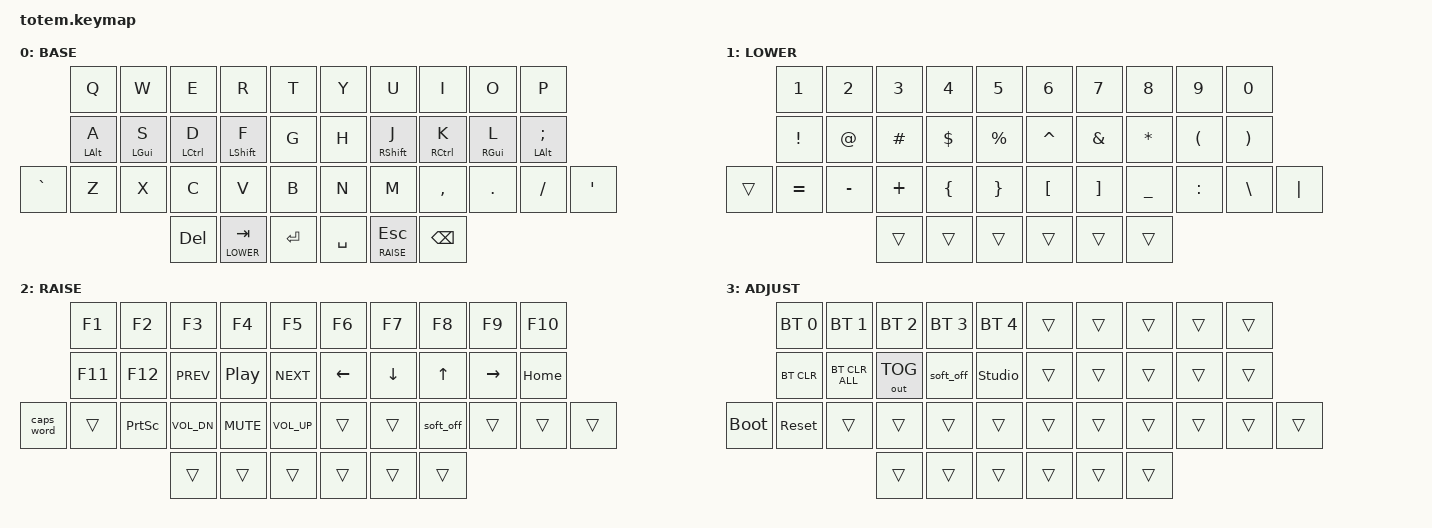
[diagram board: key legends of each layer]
//
//                                                        ▀▀▀▀▀     ▀▀▀▀▀          ▀▀█▀▀
//                                                        ▄▀▀▀▄  ▄  ▄▀▀▀▄  ▄  ▄▀▀▀▄  █  ▄▀▀▀▄
//                                                        █   █  █  █   █  █  █   █  █  █   █
//                                                         ▀▀▀   █   ▀▀▀   █   ▀▀▀   ▀   ▀▀▀
//                                                               █      ▄▄▄█▄▄▄    █   █  
//                                                               ▀      █  █  █     █▄█
//                                                             ▀▀▀▀▀    █  █  █      ▀
//                                                                      ▀  ▀  ▀
//
// ▄▄▄▄▄▄▄▄▄▄▄▄▄▄▄▄▄▄▄▄▄▄▄▄▄▄▄▄▄▄▄▄▄▄▄▄▄▄▄▄▄▄▄▄▄▄▄▄▄▄▄▄▄▄▄▄▄▄▄▄▄▄▄▄▄▄▄▄▄▄▄▄▄▄▄▄▄▄▄▄▄▄▄▄▄▄▄▄▄▄▄▄▄▄▄▄▄▄▄▄▄▄▄▄▄▄▄▄▄▄▄▄▄▄▄▄▄▄▄▄▄▄▄▄▄▄▄▄▄▄▄▄▄▄▄▄▄▄▄▄▄▄▄▄▄▄▄▄▄

#include <behaviors.dtsi>
#include <dt-bindings/zmk/bt.h>
#include <dt-bindings/zmk/keys.h>
#include <dt-bindings/zmk/outputs.h>

#define BASE 0
#define LOWER 1
#define RAISE 2
#define ADJUST 3

&mt {
    tapping-term-ms = <160>;
    quick-tap-ms = <200>;
    flavor = "tap-preferred";
};

&lt {
    tapping-term-ms = <150>;
    flavor = "tap-preferred";
};

/ {
    behaviors {
        hm: homerow_mods {
            compatible = "zmk,behavior-hold-tap";
            label = "HOMEROW_MODS";
            #binding-cells = <2>;
            flavor = "tap-preferred";
            tapping-term-ms = <170>;
            quick-tap-ms = <200>;
            bindings = <&kp>, <&kp>;
        };

        sht_hm: short_homerow_mods {
            compatible = "zmk,behavior-hold-tap";
            label = "HOMEROW_MODS";
            #binding-cells = <2>;
            // imitates HOLD_ON_OTHER_KEY_PRESS
            flavor = "hold-preferred";
            tapping-term-ms = <135>;
            quick-tap-ms = <140>;
            bindings = <&kp>, <&kp>;
        };
    };

    combos {
        compatible = "zmk,combos";
    };

    conditional_layers {
        compatible = "zmk,conditional-layers";
        tri_layer {
            if-layers = <1 2>;
            then-layer = <3>;
        };
    }; 

    macros {
    };

    keymap {
        compatible = "zmk,keymap";

        // ▄▄▄▄▄▄▄▄▄▄▄▄▄▄▄▄▄▄▄▄▄▄▄▄▄▄▄▄▄▄▄▄▄▄▄▄▄▄▄▄▄▄▄▄▄▄▄▄▄▄▄▄▄▄▄▄▄▄▄▄▄▄▄▄▄▄▄▄▄▄▄▄▄▄▄▄▄▄▄▄▄▄▄▄▄▄▄▄▄▄▄▄▄▄▄▄▄▄▄▄▄▄▄▄▄▄▄▄▄▄▄▄▄▄▄▄▄▄▄▄▄▄▄▄▄▄▄▄▄▄▄▄▄▄▄▄▄▄▄▄▄▄▄▄▄▄▄▄▄▄

        base_layer {
            // ┏━━━━━━━━━━━━━━━━━━━━━━━━━━━━━━━━━━━━━━━┓

            label = "BASE";

            // ┗━━━━━━━━━━━━━━━━━━━━━━━━━━━━━━━━━━━━━━━┛
            //             ┏━━━━━━━━━━━┳━━━━━━━━━━━┳━━━━━━━━━━━┳━━━━━━━━━━━┳━━━━━━━━━━━┓   ┏━━━━━━━━━━━┳━━━━━━━━━━━┳━━━━━━━━━━━┳━━━━━━━━━━━┳━━━━━━━━━━━┓
            //             ┃     Q     ┃     W     ┃     E     ┃     R     ┃     T     ┃   ┃     Y     ┃     U     ┃     I     ┃     O     ┃     P     ┃
            //             ┣━━━━━━━━━━━╋━━━━━━━━━━━╋━━━━━━━━━━━╋━━━━━━━━━━━╋━━━━━━━━━━━┫   ┣━━━━━━━━━━━╋━━━━━━━━━━━╋━━━━━━━━━━━╋━━━━━━━━━━━╋━━━━━━━━━━━┫
            //             ┃     A     ┃     S     ┃     D     ┃     F     ┃     G     ┃   ┃     H     ┃     J     ┃     K     ┃     L     ┃     ;     ┃
            // ┏━━━━━━━━━━━╋━━━━━━━━━━━╋━━━━━━━━━━━╋━━━━━━━━━━━╋━━━━━━━━━━━╋━━━━━━━━━━━┫   ┣━━━━━━━━━━━╋━━━━━━━━━━━╋━━━━━━━━━━━╋━━━━━━━━━━━╋━━━━━━━━━━━╋━━━━━━━━━━━┓
            // ┃     `     ┃     Z     ┃     X     ┃     C     ┃     V     ┃     B     ┃   ┃     N     ┃     M     ┃     ,     ┃     .     ┃     /     ┃     '     ┃
            // ┗━━━━━━━━━━━┻━━━━━━━━━━━┻━━━━━━━━━━━╋━━━━━━━━━━━╋━━━━━━━━━━━╋━━━━━━━━━━━┫   ┣━━━━━━━━━━━╋━━━━━━━━━━━╋━━━━━━━━━━━╋━━━━━━━━━━━┻━━━━━━━━━━━┻━━━━━━━━━━━┛
            //                                     ┃    DEL    ┃    TAB    ┃   ENTER   ┃   ┃    SPC    ┃    ESC    ┃   BSPC    ┃
            //                                     ┗━━━━━━━━━━━┻━━━━━━━━━━━┻━━━━━━━━━━━┛   ┗━━━━━━━━━━━┻━━━━━━━━━━━┻━━━━━━━━━━━┛

            bindings = <
       &kp Q       &kp W       &kp E        &kp R        &kp T        &kp Y    &kp U        &kp I        &kp O       &kp P
       &hm LALT A  &hm LGUI S  &hm LCTRL D  &sht_hm LSHFT F  &kp G        &kp H    &sht_hm RSHFT J  &hm RCTRL K  &hm RGUI L  &hm LALT SEMI
&kp GRAVE  &kp Z       &kp X       &kp C        &kp V        &kp B        &kp N    &kp M        &kp COMMA    &kp DOT     &kp FSLH       &kp SINGLE_QUOTE
                               &kp DEL      &lt LOWER TAB  &kp RET    &kp SPACE  &lt RAISE ESC  &kp BSPC
            >;
        };

        // ▄▄▄▄▄▄▄▄▄▄▄▄▄▄▄▄▄▄▄▄▄▄▄▄▄▄▄▄▄▄▄▄▄▄▄▄▄▄▄▄▄▄▄▄▄▄▄▄▄▄▄▄▄▄▄▄▄▄▄▄▄▄▄▄▄▄▄▄▄▄▄▄▄▄▄▄▄▄▄▄▄▄▄▄▄▄▄▄▄▄▄▄▄▄▄▄▄▄▄▄▄▄▄▄▄▄▄▄▄▄▄▄▄▄▄▄▄▄▄▄▄▄▄▄▄▄▄▄▄▄▄▄▄▄▄▄▄▄▄▄▄▄▄▄▄▄▄▄▄

        lower_layer {
            // ┏━━━━━━━━━━━━━━━━━━━━━━━━━━━━━━━━━━━━━━━┓

            label = "LOWER";

            // ┗━━━━━━━━━━━━━━━━━━━━━━━━━━━━━━━━━━━━━━━┛
            //             ┏━━━━━━━━━━━┳━━━━━━━━━━━┳━━━━━━━━━━━┳━━━━━━━━━━━┳━━━━━━━━━━━┓   ┏━━━━━━━━━━━┳━━━━━━━━━━━┳━━━━━━━━━━━┳━━━━━━━━━━━┳━━━━━━━━━━━┓
            //             ┃     1     ┃     2     ┃     3     ┃     4     ┃     5     ┃   ┃     6     ┃     7     ┃     8     ┃     9     ┃     0     ┃
            //             ┣━━━━━━━━━━━╋━━━━━━━━━━━╋━━━━━━━━━━━╋━━━━━━━━━━━╋━━━━━━━━━━━┫   ┣━━━━━━━━━━━╋━━━━━━━━━━━╋━━━━━━━━━━━╋━━━━━━━━━━━╋━━━━━━━━━━━┫
            //             ┃     !     ┃     @     ┃     #     ┃     $     ┃     %     ┃   ┃     ^     ┃     &     ┃     *     ┃     (     ┃     )     ┃
            // ┏━━━━━━━━━━━╋━━━━━━━━━━━╋━━━━━━━━━━━╋━━━━━━━━━━━╋━━━━━━━━━━━╋━━━━━━━━━━━┫   ┣━━━━━━━━━━━╋━━━━━━━━━━━╋━━━━━━━━━━━╋━━━━━━━━━━━╋━━━━━━━━━━━╋━━━━━━━━━━━┓
            // ┃     `     ┃     =     ┃     -     ┃     +     ┃     {     ┃     }     ┃   ┃     [     ┃     ]     ┃     _     ┃     :     ┃     \     ┃     |     ┃
            // ┗━━━━━━━━━━━┻━━━━━━━━━━━┻━━━━━━━━━━━╋━━━━━━━━━━━╋━━━━━━━━━━━╋━━━━━━━━━━━┫   ┣━━━━━━━━━━━╋━━━━━━━━━━━╋━━━━━━━━━━━╋━━━━━━━━━━━┻━━━━━━━━━━━┻━━━━━━━━━━━┛
            //                                     ┃           ┃    TAB    ┃   ENTER   ┃   ┃    SPC    ┃   ADJUST  ┃           ┃
            //                                     ┗━━━━━━━━━━━┻━━━━━━━━━━━┻━━━━━━━━━━━┛   ┗━━━━━━━━━━━┻━━━━━━━━━━━┻━━━━━━━━━━━┛

            bindings = <
        &kp N1     &kp N2      &kp N3    &kp N4     &kp N5      &kp N6    &kp N7     &kp N8     &kp N9     &kp N0
        &kp EXCL   &kp AT      &kp HASH  &kp DLLR   &kp PRCNT   &kp CARET &kp AMPS   &kp STAR   &kp LPAR   &kp RPAR
&trans  &kp EQUAL   &kp MINUS   &kp PLUS  &kp LBRC  &kp RBRC    &kp LBKT  &kp RBKT   &kp UNDER  &kp COLON  &kp BSLH        &kp PIPE
                               &trans    &trans     &trans      &trans    &trans     &trans
            >;
        };

        // ▄▄▄▄▄▄▄▄▄▄▄▄▄▄▄▄▄▄▄▄▄▄▄▄▄▄▄▄▄▄▄▄▄▄▄▄▄▄▄▄▄▄▄▄▄▄▄▄▄▄▄▄▄▄▄▄▄▄▄▄▄▄▄▄▄▄▄▄▄▄▄▄▄▄▄▄▄▄▄▄▄▄▄▄▄▄▄▄▄▄▄▄▄▄▄▄▄▄▄▄▄▄▄▄▄▄▄▄▄▄▄▄▄▄▄▄▄▄▄▄▄▄▄▄▄▄▄▄▄▄▄▄▄▄▄▄▄▄▄▄▄▄▄▄▄▄▄▄▄

        raise_layer {
            // ┏━━━━━━━━━━━━━━━━━━━━━━━━━━━━━━━━━━━━━━━┓

            label = "RAISE";

            // ┗━━━━━━━━━━━━━━━━━━━━━━━━━━━━━━━━━━━━━━━┛
            //             ┏━━━━━━━━━━━┳━━━━━━━━━━━┳━━━━━━━━━━━┳━━━━━━━━━━━┳━━━━━━━━━━━┓   ┏━━━━━━━━━━━┳━━━━━━━━━━━┳━━━━━━━━━━━┳━━━━━━━━━━━┳━━━━━━━━━━━┓
            //             ┃     F1    ┃     F2    ┃     F3    ┃     F4    ┃     F5    ┃   ┃     F6    ┃     F7    ┃     F8    ┃     F9    ┃    F10    ┃
            //             ┣━━━━━━━━━━━╋━━━━━━━━━━━╋━━━━━━━━━━━╋━━━━━━━━━━━╋━━━━━━━━━━━┫   ┣━━━━━━━━━━━╋━━━━━━━━━━━╋━━━━━━━━━━━╋━━━━━━━━━━━╋━━━━━━━━━━━┫
            //             ┃    F11    ┃    F12    ┃   PREV    ┃   PAUSE   ┃   NEXT    ┃   ┃   LEFT    ┃   DOWN    ┃    UP     ┃   RIGHT   ┃   HOME    ┃
            // ┏━━━━━━━━━━━╋━━━━━━━━━━━╋━━━━━━━━━━━╋━━━━━━━━━━━╋━━━━━━━━━━━╋━━━━━━━━━━━┫   ┣━━━━━━━━━━━╋━━━━━━━━━━━╋━━━━━━━━━━━╋━━━━━━━━━━━╋━━━━━━━━━━━╋━━━━━━━━━━━┓
            // ┃ CAPS_WORD ┃           ┃  PSCRN    ┃  VOL-     ┃   MUTE    ┃   VOL+    ┃   ┃           ┃           ┃ SOFT OFF  ┃           ┃           ┃           ┃
            // ┗━━━━━━━━━━━┻━━━━━━━━━━━┻━━━━━━━━━━━╋━━━━━━━━━━━╋━━━━━━━━━━━╋━━━━━━━━━━━┫   ┣━━━━━━━━━━━╋━━━━━━━━━━━╋━━━━━━━━━━━╋━━━━━━━━━━━┻━━━━━━━━━━━┻━━━━━━━━━━━┛
            //                                     ┃           ┃  ADJUST   ┃           ┃   ┃           ┃           ┃           ┃
            //                                     ┗━━━━━━━━━━━┻━━━━━━━━━━━┻━━━━━━━━━━━┛   ┗━━━━━━━━━━━┻━━━━━━━━━━━┻━━━━━━━━━━━┛

            bindings = <
        &kp F1     &kp F2     &kp F3       &kp F4       &kp F5       &kp F6     &kp F7         &kp F8     &kp F9     &kp F10
        &kp F11    &kp F12    &kp C_PREV   &kp C_PP     &kp C_NEXT   &kp LEFT   &kp DOWN       &kp UP     &kp RIGHT  &kp HOME
&caps_word  &trans     &kp PSCRN  &kp C_VOL_DN &kp C_MUTE   &kp C_VOL_UP &trans     &trans         &soft_off  &trans     &trans     &trans
                              &trans       &trans       &trans       &trans     &trans         &trans
            >;
        };

        // ▄▄▄▄▄▄▄▄▄▄▄▄▄▄▄▄▄▄▄▄▄▄▄▄▄▄▄▄▄▄▄▄▄▄▄▄▄▄▄▄▄▄▄▄▄▄▄▄▄▄▄▄▄▄▄▄▄▄▄▄▄▄▄▄▄▄▄▄▄▄▄▄▄▄▄▄▄▄▄▄▄▄▄▄▄▄▄▄▄▄▄▄▄▄▄▄▄▄▄▄▄▄▄▄▄▄▄▄▄▄▄▄▄▄▄▄▄▄▄▄▄▄▄▄▄▄▄▄▄▄▄▄▄▄▄▄▄▄▄▄▄▄▄▄▄▄▄▄▄

        adjust_layer {
            // ┏━━━━━━━━━━━━━━━━━━━━━━━━━━━━━━━━━━━━━━━┓

            label = "ADJUST";

            // ┗━━━━━━━━━━━━━━━━━━━━━━━━━━━━━━━━━━━━━━━┛
            //             ┏━━━━━━━━━━━┳━━━━━━━━━━━┳━━━━━━━━━━━┳━━━━━━━━━━━┳━━━━━━━━━━━┓   ┏━━━━━━━━━━━┳━━━━━━━━━━━┳━━━━━━━━━━━┳━━━━━━━━━━━┳━━━━━━━━━━━┓
            //             ┃  BT SEL 0 ┃  BT SEL 1 ┃  BT SEL 2 ┃  BT SEL 3 ┃  BT SEL 4 ┃   ┃           ┃           ┃           ┃           ┃           ┃
            //             ┣━━━━━━━━━━━╋━━━━━━━━━━━╋━━━━━━━━━━━╋━━━━━━━━━━━╋━━━━━━━━━━━┫   ┣━━━━━━━━━━━╋━━━━━━━━━━━╋━━━━━━━━━━━╋━━━━━━━━━━━╋━━━━━━━━━━━┫
            //             ┃  BT CLEAR ┃ BT CLR ALL┃USB/BLE TOG┃ SOFT OFF  ┃STUDIO UNLK┃   ┃           ┃           ┃           ┃           ┃           ┃
            // ┏━━━━━━━━━━━╋━━━━━━━━━━━╋━━━━━━━━━━━╋━━━━━━━━━━━╋━━━━━━━━━━━╋━━━━━━━━━━━┫   ┣━━━━━━━━━━━╋━━━━━━━━━━━╋━━━━━━━━━━━╋━━━━━━━━━━━╋━━━━━━━━━━━╋━━━━━━━━━━━┓
            // ┃ BOOTLOADER┃ SYS RESET ┃           ┃           ┃           ┃           ┃   ┃           ┃           ┃           ┃           ┃           ┃           ┃
            // ┗━━━━━━━━━━━┻━━━━━━━━━━━┻━━━━━━━━━━━╋━━━━━━━━━━━╋━━━━━━━━━━━╋━━━━━━━━━━━┫   ┣━━━━━━━━━━━╋━━━━━━━━━━━╋━━━━━━━━━━━╋━━━━━━━━━━━┻━━━━━━━━━━━┻━━━━━━━━━━━┛
            //                                     ┃           ┃           ┃           ┃   ┃           ┃           ┃           ┃
            //                                     ┗━━━━━━━━━━━┻━━━━━━━━━━━┻━━━━━━━━━━━┛   ┗━━━━━━━━━━━┻━━━━━━━━━━━┻━━━━━━━━━━━┛

            bindings = <
            &bt BT_SEL 0  &bt BT_SEL 1  &bt BT_SEL 2  &bt BT_SEL 3  &bt BT_SEL 4    &trans     &trans     &trans     &trans     &trans
            &bt BT_CLR    &bt BT_CLR_ALL &out OUT_TOG &soft_off    &studio_unlock   &trans     &trans     &trans     &trans     &trans
&bootloader &sys_reset    &trans        &trans        &trans        &trans          &trans     &trans     &trans     &trans     &trans     &trans
                                        &trans        &trans        &trans          &trans     &trans     &trans
            >;
        };
    };
};
